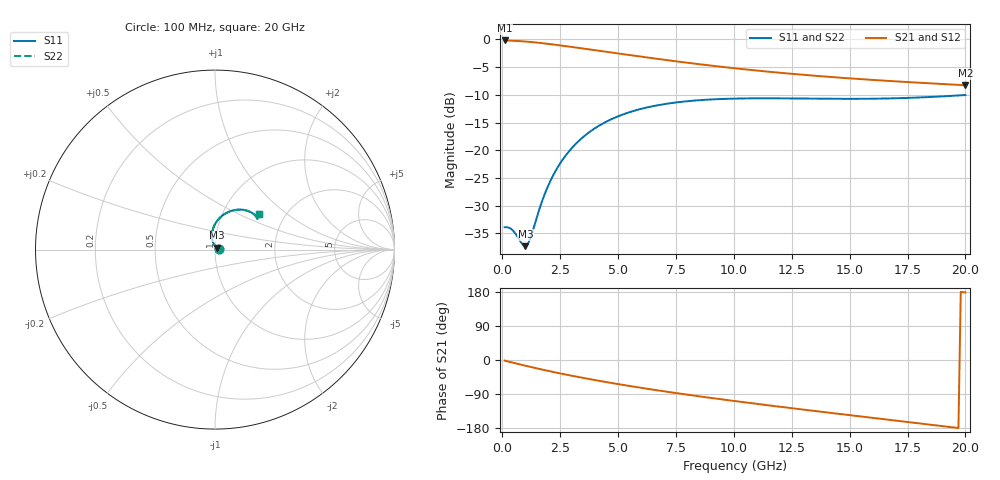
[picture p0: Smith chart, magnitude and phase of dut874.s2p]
! Touchstone file exported from HFSS 2024.1.0
!  File:  C:/UserFiles/LocalFiles/RDL_TSV_Batchsim/temp_RDL_TSV_874_1779928445.aedt
!  Generated:  08:49:20 AM May 28, 2026
!  Design:  RDL_TSV
!  Project:  temp_RDL_TSV_874_1779928445
!  Setup:  Setup1
!  Solution:  Sweep
! Variables:
!  dtsv = 8um
!  hbump = 3um
!  htsv = 90.7um
!  ldown = 354.86um
!  lrdl = 304.61um
!  p = 40
!  p1 = 44.14um
!  rhole = 10um
!  subl = 2283.02um
!  t = 450um
!  tdown = 4.76um
!  trdl = 2.16um
!  viad = 10um
!  wdown = 27.11um
!  wrdl = 12.13um
!  xbump = 18um
# GHz S MA R 50.000000
! Terminal data exported
! Port[1] = TM1_1_T1
! Port[2] = TM1_4_T1
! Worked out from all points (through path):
!   200 points, 100 MHz to 20 GHz, reference 50 ohm
!   highest |S21| = -0.18 dB at 100 MHz (marker M1); lowest = -8.3 dB at 20 GHz (marker M2)
!   group delay of S21, straight-line fit = 23.8 ps
!   lowest |S11| = -37.3 dB at 1 GHz (marker M3), VSWR 1.03, Z = 50.9 + j1.07 ohm
!   |S11| at or under -10 dB: start of sweep to end of sweep
!   |S22| runs from -37.3 to -10.0 dB; largest |S21 - S12| = 1.5e-14
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0.1  0.02023 2.8  0.9794 -1.6  0.9794 -1.6  0.02023 2.8
! Gamma 0 0 0 0
! Port Impedance 50 0 50 0
0.4  0.01941 9.2  0.9751 -6.2  0.9751 -6.2  0.01941 9.1
0.9  0.01395 37.9  0.9615 -13.7  0.9615 -13.7  0.01396 37.8
1  0.01366 50.2  0.958 -15.1  0.958 -15.1  0.01366 50.1
1.1  0.01424 63.4  0.9542 -16.6  0.9542 -16.6  0.01424 63.3
1.2  0.01581 75.6  0.9501 -18.0  0.9501 -18.0  0.01579 75.4
1.7  0.03391 103.1  0.9269 -25.0  0.9269 -25.0  0.03382 103.0
1.9  0.04368 105.2  0.9166 -27.7  0.9166 -27.7  0.04356 105.1
2.2  0.05958 105.1  0.9005 -31.6  0.9005 -31.6  0.05943 105.0
2.5  0.0763 103.0  0.8839 -35.4  0.8839 -35.4  0.07611 103.0
2.8  0.09333 100.1  0.8671 -39.1  0.8671 -39.1  0.09311 100.1
3.5  0.1323 92.2  0.8279 -47.4  0.8279 -47.4  0.132 92.1
4.2  0.1678 84.1  0.7897 -55.2  0.7897 -55.2  0.1674 84.1
4.9  0.1986 76.7  0.7531 -62.6  0.7531 -62.6  0.1982 76.6
5.8  0.2307 68.1  0.7088 -71.6  0.7088 -71.6  0.2301 68.1
6.8  0.2569 60.1  0.6639 -81.0  0.6639 -81.0  0.2563 60.1
8.4  0.2821 50.1  0.6016 -95.0  0.6016 -95.0  0.2814 50.1
10.1  0.293 42.8  0.5478 -108.8  0.5478 -108.8  0.2921 42.7
11.7  0.2945 38.4  0.507 -121.2  0.507 -121.2  0.2935 38.4
13.4  0.2925 36.2  0.4722 -133.8  0.4722 -133.8  0.2914 36.2
16.7  0.2937 36.7  0.4224 -157.8  0.4224 -157.8  0.2927 36.8
20  0.3153 39.3  0.3865 178.4  0.3865 178.4  0.3145 39.5
